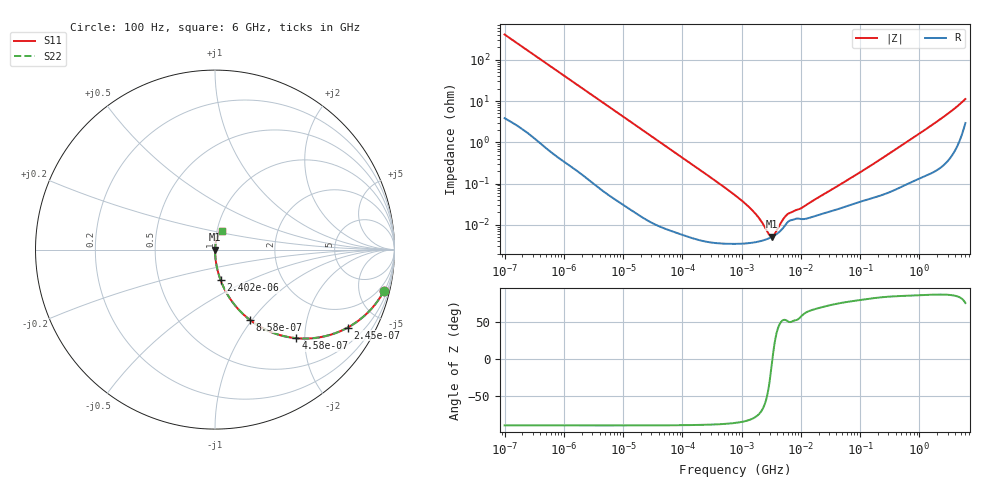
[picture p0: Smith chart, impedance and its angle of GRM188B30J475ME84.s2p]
!Murata Part Number: GRM188B30J475ME84
!These Parameters are Measured in Series Mode Connection
!Data Generated on Mar 30, 2021
!  o--ll--o
!Port1  Port2
!  o------o
!Operation Temp=25[degC], DC Bias Voltage=0[V]
!Freq. Start=100[Hz] Stop=6[GHz] 401[Steps]
# Hz S RI R 50
!Freq.(Hz) S11(Real) S11(Imag) S21(Real) S21(Imag) S12(Real) S12(Imag) S22(Real) S22(Imag)
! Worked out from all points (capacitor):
!   401 points, 100 Hz to 6 GHz, reference 50 ohm
!   read as one part in series: C = 3.86 uF near 109 Hz
!   lowest |Z| = 5.12 mohm at 3.246 MHz (marker M1)
!   series resonance near 3.321 MHz, so ESL is about 590 pH
!   S11 on the Smith chart (normalised r, x): 100 Hz: 1.08, -8.22; 245 Hz: 1.03, -3.38; 458 Hz: 1.02, -1.81; 858 Hz: 1.01, -0.97; 2.402 kHz: 1.00, -0.35; 6 GHz: 1.06, +0.22
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100  0.9422 -0.2287  0.0578 0.2287  0.0578 0.2287  0.9422 -0.2287
164  0.8614 -0.3405  0.1386 0.3405  0.1386 0.3405  0.8614 -0.3405
245  0.7384 -0.4346  0.2616 0.4346  0.2616 0.4346  0.7384 -0.4346
335  0.6039 -0.4844  0.3961 0.4844  0.3961 0.4844  0.6039 -0.4844
458  0.4513 -0.4932  0.5487 0.4932  0.5487 0.4932  0.4513 -0.4932
858  0.1927 -0.3904  0.8073 0.3904  0.8073 0.3904  0.1927 -0.3904
1283  0.0975 -0.2926  0.9025 0.2926  0.9025 0.2926  0.0975 -0.2926
2008  0.043 -0.199  0.957 0.199  0.957 0.199  0.043 -0.199
2402  0.0307 -0.1687  0.9693 0.1687  0.9693 0.1687  0.0307 -0.1687
7358  0.00366 -0.0569  0.9963 0.0569  0.9963 0.0569  0.00366 -0.0569
40335  0.000203 -0.0105  0.9998 0.0105  0.9998 0.0105  0.000203 -0.0105
774597  3.48e-05 -0.000521  1 0.000521  1 0.000521  3.48e-05 -0.000521
1449809  3.66e-05 -0.000238  1 0.000238  1 0.000238  3.66e-05 -0.000238
2372521  4.24e-05 -8.77e-05  1 8.77e-05  1 8.77e-05  4.24e-05 -8.77e-05
3245845  5.09e-05 -5.8e-06  0.9999 5.8e-06  0.9999 5.8e-06  5.09e-05 -5.8e-06
4246196  6.56e-05 6.32e-05  0.9999 -6.32e-05  0.9999 -6.32e-05  6.56e-05 6.32e-05
6075234  0.000118 0.000142  0.9999 -0.000142  0.9999 -0.000142  0.000118 0.000142
1.039699e7  0.000137 0.000218  0.9999 -0.000218  0.9999 -0.000218  0.000137 0.000218
1.555665e7  0.000155 0.000341  0.9998 -0.000341  0.9998 -0.000341  0.000155 0.000341
3.124326e8  0.000643 0.00532  0.9994 -0.00532  0.9994 -0.00532  0.000643 0.00532
1.95892e9  0.00305 0.0312  0.9969 -0.0312  0.9969 -0.0312  0.00305 0.0312
6e9  0.0391 0.1009  0.9609 -0.1009  0.9609 -0.1009  0.0391 0.1009
